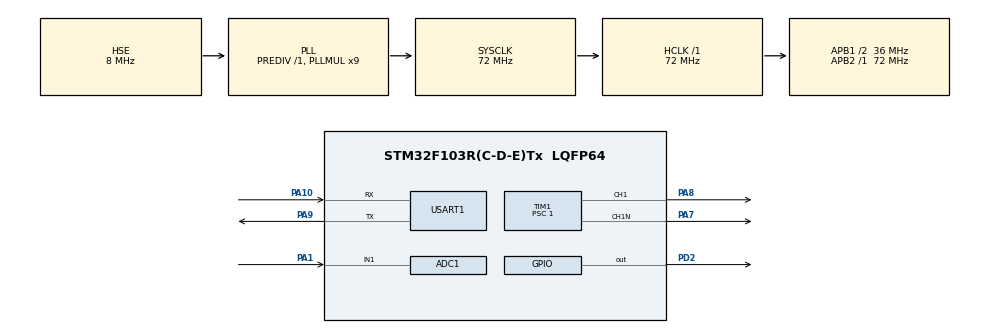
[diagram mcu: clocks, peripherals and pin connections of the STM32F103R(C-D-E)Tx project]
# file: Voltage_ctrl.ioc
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ADC1.Channel-0\#ChannelRegularConversion=ADC_CHANNEL_1
ADC1.ContinuousConvMode=ENABLE
ADC1.DiscontinuousConvMode=DISABLE
ADC1.EnableInjectedConversion=DISABLE
ADC1.EnableRegularConversion=ENABLE
ADC1.InjNumberOfConversion=2
ADC1.NbrOfConversionFlag=1
ADC1.Rank-0\#ChannelRegularConversion=1
ADC1.SamplingTime-0\#ChannelRegularConversion=ADC_SAMPLETIME_1CYCLE_5
ADC1.master=1
Dma.ADC1.0.Direction=DMA_PERIPH_TO_MEMORY
Dma.ADC1.0.Instance=DMA1_Channel1
Dma.ADC1.0.MemDataAlignment=DMA_MDATAALIGN_HALFWORD
Dma.ADC1.0.MemInc=DMA_MINC_ENABLE
Dma.ADC1.0.Mode=DMA_NORMAL
Dma.ADC1.0.PeriphDataAlignment=DMA_PDATAALIGN_HALFWORD
Dma.ADC1.0.PeriphInc=DMA_PINC_DISABLE
Dma.ADC1.0.Priority=DMA_PRIORITY_LOW
Dma.Request0=ADC1
Mcu.Family=STM32F1
Mcu.Name=STM32F103R(C-D-E)Tx
Mcu.Package=LQFP64
NVIC.PriorityGroup=NVIC_PRIORITYGROUP_4
NVIC.TIM6_IRQn=true\:15\:0\:true\:true\:true\:1\:true\:true\:true
NVIC.USART1_IRQn=true\:4\:0\:true\:true\:true\:2\:true\:true\:true
PA1.Signal=ADCx_IN1
PA10.Mode=Asynchronous
PA10.Signal=USART1_RX
PA13.Mode=Serial_Wire
PA13.Signal=SYS_JTMS-SWDIO
PA14.Mode=Serial_Wire
PA14.Signal=SYS_JTCK-SWCLK
PA7.Mode=PWM Generation1 CH1 CH1N
PA7.Signal=TIM1_CH1N
PA8.Signal=S_TIM1_CH1
PA9.Mode=Asynchronous
PA9.Signal=USART1_TX
PD0-OSC_IN.Mode=HSE-External-Oscillator
PD0-OSC_IN.Signal=RCC_OSC_IN
PD1-OSC_OUT.Mode=HSE-External-Oscillator
PD1-OSC_OUT.Signal=RCC_OSC_OUT
PD2.Signal=GPIO_Output
ProjectManager.HeapSize=0x200
ProjectManager.StackSize=0x400
ProjectManager.TargetToolchain=Makefile
RCC.ADCPresc=RCC_ADCPCLK2_DIV6
RCC.AHBFreq_Value=72000000
RCC.APB1CLKDivider=RCC_HCLK_DIV2
RCC.APB1Freq_Value=36000000
RCC.APB1TimFreq_Value=72000000
RCC.APB2Freq_Value=72000000
RCC.APB2TimFreq_Value=72000000
RCC.HCLKFreq_Value=72000000
RCC.PLLMUL=RCC_PLL_MUL9
RCC.PLLSourceVirtual=RCC_PLLSOURCE_HSE
RCC.SYSCLKFreq_VALUE=72000000
RCC.SYSCLKSource=RCC_SYSCLKSOURCE_PLLCLK
RCC.USBFreq_Value=72000000
SH.ADCx_IN1.0=ADC1_IN1,IN1
SH.S_TIM1_CH1.0=TIM1_CH1,PWM Generation1 CH1 CH1N
TIM1.AutoReloadPreload=TIM_AUTORELOAD_PRELOAD_ENABLE
TIM1.Channel-PWM\ Generation1\ CH1\ CH1N=TIM_CHANNEL_1
TIM1.CounterMode=TIM_COUNTERMODE_UP
TIM1.OC1Preload_PWM=ENABLE
TIM1.OCIdleState_1=TIM_OCIDLESTATE_SET
TIM1.OCNIdleState_1=TIM_OCNIDLESTATE_SET
TIM1.OCNPolarity_1=TIM_OCNPOLARITY_LOW
TIM1.Period=3600
TIM1.Prescaler=1
TIM6.AutoReloadPreload=TIM_AUTORELOAD_PRELOAD_ENABLE
TIM6.Period=2670
TIM6.Prescaler=2670
TIM6.TIM_MasterOutputTrigger=TIM_TRGO_RESET
TIM7.AutoReloadPreload=TIM_AUTORELOAD_PRELOAD_ENABLE
USART1.VirtualMode=VM_ASYNC
VP_TIM1_VS_ClockSourceINT.Mode=Internal
VP_TIM6_VS_ClockSourceINT.Mode=Enable_Timer
VP_TIM7_VS_ClockSourceINT.Mode=Enable_Timer
board=custom

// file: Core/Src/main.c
/* USER CODE BEGIN Header */
/**
  ******************************************************************************
  * @file           : main.c
  * @brief          : Main program body
  ******************************************************************************
  * @attention
  *
  * Copyright (c) 2024 STMicroelectronics.
  * All rights reserved.
  *
  * This software is licensed under terms that can be found in the LICENSE file
  * in the root directory of this software component.
  * If no LICENSE file comes with this software, it is provided AS-IS.
  *
  ******************************************************************************
  */
/* USER CODE END Header */
#include "main.h"

/* USER CODE BEGIN PTD */
Config_Value TARGET = {100,100,0};
uint8_t Exceed_Time_Flag =0;
unsigned char uart_temp;
uint8_t uart_receive_data[7];
/* USER CODE END PTD */

TIM_HandleTypeDef htim6;

UART_HandleTypeDef huart1;

/* USER CODE BEGIN PV */
// #define __GNUC__ 11
// #ifdef __GNUC__
// #define PUTCHAR_PROTOTYPE int __io_putchar(int ch)
// #else
// #define PUTCHAR_PROTOTYPE int fputc(int ch, FILE *f)
// #endif
// PUTCHAR_PROTOTYPE
// {
//     HAL_UART_Transmit(&huart1 , (__uint8_t *)&ch, 1, 0xFFFF);
//     return ch;
// }
// int _write(int file, char *ptr, int len)
// {
//       int DataIdx;
//       for (DataIdx = 0; DataIdx < len;DataIdx++)
//      {
//            //__io_putchar(*ptr++);
//            HAL_UART_Transmit(&huart1 ,ptr++, 1, 0xFFFF);
//      }
//       return len;
// }
/* USER CODE END PV */

void SystemClock_Config(void);
static void MX_GPIO_Init(void);
static void MX_DMA_Init(void);
static void MX_TIM6_Init(void);
static void MX_USART1_UART_Init(void);
static void MX_TIM1_Init(void);
static void MX_TIM7_Init(void);
static void MX_ADC1_Init(void);
static void MX_NVIC_Init(void);

int main(void)
{

  /* MCU Configuration--------------------------------------------------------*/

  /* Reset of all peripherals, Initializes the Flash interface and the Systick. */
  HAL_Init();

  /* Configure the system clock */
  SystemClock_Config();

  /* USER CODE BEGIN SysInit */
 // MX_TIM7_INIT(TIM7);
  /* USER CODE END SysInit */

  /* Initialize all configured peripherals */
  MX_GPIO_Init();
  MX_DMA_Init();
  MX_TIM6_Init();
  MX_USART1_UART_Init();
  MX_TIM1_Init();
  MX_TIM7_Init();
  MX_ADC1_Init();

  /* Initialize interrupts */
  MX_NVIC_Init();
  /* USER CODE BEGIN 2 */
  //__HAL_USART_ENABLE_IT();
  //HAL_UART_Receive_IT(&huart1,uart_temp,5);
  Advance_TIMX_PWM_INIGTION(TIM1);

  int Sys_Led_Cnt_Flag = 0;
  unsigned char temp1=0;
  uint32_t ADC_TEMP;

  PID_Controller temp2;

  // ADC_Operation FUNC1 = ADC1_Operation;
  // Set_Duty FUNC2 = Set_And_Convert_Duty_ALL;

  Get_ADC_INIT_VALUE(&(TARGET.ADC_ZERO_INIT));  /////////get a init value of zero duty PWM

  // Set_And_Convert_Duty_Float(TIM1, 0.04);

  PID_Parameters_Init(&temp2,0.02,0.00002,0.0,ADC1_Operation,Set_And_Convert_Duty_ALL);
  /* USER CODE END 2 */

  /* Infinite loop */
  /* USER CODE BEGIN WHILE */
  while (1)
  {
       // LL_TIM_OC_SetCompareCH1(TIM1, 269);
       Set_And_Convert_Duty_ALL(10);
       //PID_Process(TARGET,&temp2,ADC1_Operation,Set_And_Convert_Duty_ALL);
        //ms_delay(TIM7,10);
       us_delay(TIM7,(int)(TARGET.interval));
       //us_delay(TIM7,100);
    // LL_ADC_REG_StartConversionSWStart (ADC1);
    // while(LL_ADC_IsActiveFlag_EOS (ADC1)==0);

    // ADC_TEMP = LL_ADC_REG_ReadConversionData12(ADC1);
    // LL_ADC_ClearFlag_EOS(ADC1);

       instruction_handle(&huart1,uart_receive_data,&TARGET);
      // us_delay(TIM7,10);
       auto_report_handle(&huart1,&TARGET);

       //ADC_TEMP = ADC_By_Consultant(ADC1);

    /////////// SYS LED RUN ////////////////

    if(Sys_Led_Cnt_Flag <= 100)
    {
      HAL_GPIO_WritePin(GPIOD, GPIO_PIN_2,GPIO_PIN_SET);
      //Sys_Led_Cnt_Flag =0;
    }
    else if ((Sys_Led_Cnt_Flag >100)&&(Sys_Led_Cnt_Flag <=200))
    {
      HAL_GPIO_WritePin(GPIOD, GPIO_PIN_2,GPIO_PIN_RESET);
    }
    else if (Sys_Led_Cnt_Flag > 200)
    {
      Sys_Led_Cnt_Flag =0;
    }
    Sys_Led_Cnt_Flag++;
    ///////////////////////////////////////////////////

    /* USER CODE END WHILE */

  }
}

void SystemClock_Config(void)
{
  RCC_OscInitTypeDef RCC_OscInitStruct = {0};
  RCC_ClkInitTypeDef RCC_ClkInitStruct = {0};
  RCC_PeriphCLKInitTypeDef PeriphClkInit = {0};

  /** Initializes the RCC Oscillators according to the specified parameters
  * in the RCC_OscInitTypeDef structure.
  */
  RCC_OscInitStruct.OscillatorType = RCC_OSCILLATORTYPE_HSE;
  RCC_OscInitStruct.HSEState = RCC_HSE_ON;
  RCC_OscInitStruct.HSEPredivValue = RCC_HSE_PREDIV_DIV1;
  RCC_OscInitStruct.HSIState = RCC_HSI_ON;
  RCC_OscInitStruct.PLL.PLLState = RCC_PLL_ON;
  RCC_OscInitStruct.PLL.PLLSource = RCC_PLLSOURCE_HSE;
  RCC_OscInitStruct.PLL.PLLMUL = RCC_PLL_MUL9;
  if (HAL_RCC_OscConfig(&RCC_OscInitStruct) != HAL_OK)
  {
    Error_Handler();
  }

  /** Initializes the CPU, AHB and APB buses clocks
  */
  RCC_ClkInitStruct.ClockType = RCC_CLOCKTYPE_HCLK|RCC_CLOCKTYPE_SYSCLK
                              |RCC_CLOCKTYPE_PCLK1|RCC_CLOCKTYPE_PCLK2;
  RCC_ClkInitStruct.SYSCLKSource = RCC_SYSCLKSOURCE_PLLCLK;
  RCC_ClkInitStruct.AHBCLKDivider = RCC_SYSCLK_DIV1;
  RCC_ClkInitStruct.APB1CLKDivider = RCC_HCLK_DIV2;
  RCC_ClkInitStruct.APB2CLKDivider = RCC_HCLK_DIV1;

  if (HAL_RCC_ClockConfig(&RCC_ClkInitStruct, FLASH_LATENCY_2) != HAL_OK)
  {
    Error_Handler();
  }
  PeriphClkInit.PeriphClockSelection = RCC_PERIPHCLK_ADC;
  PeriphClkInit.AdcClockSelection = RCC_ADCPCLK2_DIV6;
  if (HAL_RCCEx_PeriphCLKConfig(&PeriphClkInit) != HAL_OK)
  {
    Error_Handler();
  }
}

/**
  * @brief NVIC Configuration.
  * @retval None
  */
static void MX_NVIC_Init(void)
{
  /* TIM6_IRQn interrupt configuration */
  HAL_NVIC_SetPriority(TIM6_IRQn, 15, 0);
  HAL_NVIC_EnableIRQ(TIM6_IRQn);
  /* USART1_IRQn interrupt configuration */
  HAL_NVIC_SetPriority(USART1_IRQn, 4, 0);
  HAL_NVIC_EnableIRQ(USART1_IRQn);
}

static void MX_ADC1_Init(void)
{

  /* USER CODE BEGIN ADC1_Init 0 */

  /*ADC Calibration*/
  LL_ADC_Disable(ADC1);
  LL_ADC_StartCalibration (ADC1);
  while (LL_ADC_IsCalibrationOnGoing(ADC1));

  /* USER CODE END ADC1_Init 0 */

  LL_ADC_InitTypeDef ADC_InitStruct = {0};
  LL_ADC_CommonInitTypeDef ADC_CommonInitStruct = {0};
  LL_ADC_REG_InitTypeDef ADC_REG_InitStruct = {0};

  LL_GPIO_InitTypeDef GPIO_InitStruct = {0};

  /* Peripheral clock enable */
  LL_APB2_GRP1_EnableClock(LL_APB2_GRP1_PERIPH_ADC1);

  LL_APB2_GRP1_EnableClock(LL_APB2_GRP1_PERIPH_GPIOA);
  /**ADC1 GPIO Configuration
  PA1   ------> ADC1_IN1
  */
  GPIO_InitStruct.Pin = LL_GPIO_PIN_1;
  GPIO_InitStruct.Mode = LL_GPIO_MODE_ANALOG;
  LL_GPIO_Init(GPIOA, &GPIO_InitStruct);

  /* ADC1 DMA Init */

  /* ADC1 Init */
  LL_DMA_SetDataTransferDirection(DMA1, LL_DMA_CHANNEL_1, LL_DMA_DIRECTION_PERIPH_TO_MEMORY);

  LL_DMA_SetChannelPriorityLevel(DMA1, LL_DMA_CHANNEL_1, LL_DMA_PRIORITY_LOW);

  LL_DMA_SetMode(DMA1, LL_DMA_CHANNEL_1, LL_DMA_MODE_NORMAL);

  LL_DMA_SetPeriphIncMode(DMA1, LL_DMA_CHANNEL_1, LL_DMA_PERIPH_NOINCREMENT);

  LL_DMA_SetMemoryIncMode(DMA1, LL_DMA_CHANNEL_1, LL_DMA_MEMORY_INCREMENT);

  LL_DMA_SetPeriphSize(DMA1, LL_DMA_CHANNEL_1, LL_DMA_PDATAALIGN_HALFWORD);

  LL_DMA_SetMemorySize(DMA1, LL_DMA_CHANNEL_1, LL_DMA_MDATAALIGN_HALFWORD);

  /** Common config
  */
  ADC_InitStruct.DataAlignment = LL_ADC_DATA_ALIGN_RIGHT;
  ADC_InitStruct.SequencersScanMode = LL_ADC_SEQ_SCAN_ENABLE;
  LL_ADC_Init(ADC1, &ADC_InitStruct);
  ADC_CommonInitStruct.Multimode = LL_ADC_MULTI_INDEPENDENT;
  LL_ADC_CommonInit(__LL_ADC_COMMON_INSTANCE(ADC1), &ADC_CommonInitStruct);
  ADC_REG_InitStruct.TriggerSource = LL_ADC_REG_TRIG_SOFTWARE;
  ADC_REG_InitStruct.SequencerLength = LL_ADC_REG_SEQ_SCAN_DISABLE;
  ADC_REG_InitStruct.SequencerDiscont = LL_ADC_REG_SEQ_DISCONT_DISABLE;
  ADC_REG_InitStruct.ContinuousMode = LL_ADC_REG_CONV_CONTINUOUS;
  ADC_REG_InitStruct.DMATransfer = LL_ADC_REG_DMA_TRANSFER_UNLIMITED;
  LL_ADC_REG_Init(ADC1, &ADC_REG_InitStruct);

  /** Configure Regular Channel
  */
  LL_ADC_REG_SetSequencerRanks(ADC1, LL_ADC_REG_RANK_1, LL_ADC_CHANNEL_1);
  LL_ADC_SetChannelSamplingTime(ADC1, LL_ADC_CHANNEL_1, LL_ADC_SAMPLINGTIME_1CYCLE_5);
  /* USER CODE BEGIN ADC1_Init 2 */

  //LL_ADC_SetChannelSamplingTime (ADC1, LL_ADC_CHANNEL_1,LL_ADC_SAMPLINGTIME_239CYCLES_5);
  LL_ADC_Enable (ADC1);

  /* USER CODE END ADC1_Init 2 */

}

static void MX_TIM1_Init(void)
{

  LL_TIM_InitTypeDef TIM_InitStruct = {0};
  LL_TIM_OC_InitTypeDef TIM_OC_InitStruct = {0};
  LL_TIM_BDTR_InitTypeDef TIM_BDTRInitStruct = {0};

  LL_GPIO_InitTypeDef GPIO_InitStruct = {0};

  /* Peripheral clock enable */
  LL_APB2_GRP1_EnableClock(LL_APB2_GRP1_PERIPH_TIM1);

  TIM_InitStruct.Prescaler = 1;
  TIM_InitStruct.CounterMode = LL_TIM_COUNTERMODE_UP;
  TIM_InitStruct.Autoreload = 3600;
  TIM_InitStruct.ClockDivision = LL_TIM_CLOCKDIVISION_DIV1;
  TIM_InitStruct.RepetitionCounter = 0;
  LL_TIM_Init(TIM1, &TIM_InitStruct);
  LL_TIM_EnableARRPreload(TIM1);
  LL_TIM_SetClockSource(TIM1, LL_TIM_CLOCKSOURCE_INTERNAL);
  LL_TIM_OC_EnablePreload(TIM1, LL_TIM_CHANNEL_CH1);
  TIM_OC_InitStruct.OCMode = LL_TIM_OCMODE_PWM1;
  TIM_OC_InitStruct.OCState = LL_TIM_OCSTATE_DISABLE;
  TIM_OC_InitStruct.OCNState = LL_TIM_OCSTATE_DISABLE;
  TIM_OC_InitStruct.CompareValue = 0;
  TIM_OC_InitStruct.OCPolarity = LL_TIM_OCPOLARITY_HIGH;
  TIM_OC_InitStruct.OCNPolarity = LL_TIM_OCPOLARITY_HIGH;
  TIM_OC_InitStruct.OCIdleState = LL_TIM_OCIDLESTATE_HIGH;
  TIM_OC_InitStruct.OCNIdleState = LL_TIM_OCIDLESTATE_HIGH;
  LL_TIM_OC_Init(TIM1, LL_TIM_CHANNEL_CH1, &TIM_OC_InitStruct);
  LL_TIM_OC_DisableFast(TIM1, LL_TIM_CHANNEL_CH1);
  LL_TIM_SetTriggerOutput(TIM1, LL_TIM_TRGO_RESET);
  LL_TIM_DisableMasterSlaveMode(TIM1);
  TIM_BDTRInitStruct.OSSRState = LL_TIM_OSSR_DISABLE;
  TIM_BDTRInitStruct.OSSIState = LL_TIM_OSSI_DISABLE;
  TIM_BDTRInitStruct.LockLevel = LL_TIM_LOCKLEVEL_OFF;
  TIM_BDTRInitStruct.DeadTime = 0;
  TIM_BDTRInitStruct.BreakState = LL_TIM_BREAK_DISABLE;
  TIM_BDTRInitStruct.BreakPolarity = LL_TIM_BREAK_POLARITY_HIGH;
  TIM_BDTRInitStruct.AutomaticOutput = LL_TIM_AUTOMATICOUTPUT_DISABLE;
  LL_TIM_BDTR_Init(TIM1, &TIM_BDTRInitStruct);
  /* USER CODE BEGIN TIM1_Init 2 */
  LL_APB2_GRP1_EnableClock(LL_APB2_GRP1_PERIPH_AFIO);
  /* USER CODE END TIM1_Init 2 */
  //LL_APB2_GRP1_EnableClock(LL_APB2_GRP1_PERIPH_GPIOA);

  /**TIM1 GPIO Configuration
  PA7   ------> TIM1_CH1N
  PA8   ------> TIM1_CH1
  */
  GPIO_InitStruct.Pin = LL_GPIO_PIN_7|LL_GPIO_PIN_8;
  GPIO_InitStruct.Mode = LL_GPIO_MODE_ALTERNATE;
  GPIO_InitStruct.Speed = LL_GPIO_SPEED_FREQ_LOW;
  GPIO_InitStruct.OutputType = LL_GPIO_OUTPUT_PUSHPULL;
  LL_GPIO_Init(GPIOA, &GPIO_InitStruct);

  LL_GPIO_AF_RemapPartial_TIM1();

}

static void MX_TIM6_Init(void)
{

  /* USER CODE BEGIN TIM6_Init 0 */
  // __HAL_RCC_TIM6_CLK_ENABLE();
  /* USER CODE END TIM6_Init 0 */

  TIM_MasterConfigTypeDef sMasterConfig = {0};

  htim6.Instance = TIM6;
  htim6.Init.Prescaler = 2670;
  htim6.Init.CounterMode = TIM_COUNTERMODE_UP;
  htim6.Init.Period = 2670;
  htim6.Init.AutoReloadPreload = TIM_AUTORELOAD_PRELOAD_ENABLE;
  if (HAL_TIM_Base_Init(&htim6) != HAL_OK)
  {
    Error_Handler();
  }
  sMasterConfig.MasterOutputTrigger = TIM_TRGO_RESET;
  sMasterConfig.MasterSlaveMode = TIM_MASTERSLAVEMODE_DISABLE;
  if (HAL_TIMEx_MasterConfigSynchronization(&htim6, &sMasterConfig) != HAL_OK)
  {
    Error_Handler();
  }
  /* USER CODE BEGIN TIM6_Init 2 */
  HAL_TIM_Base_Start_IT(&htim6);
 // HAL_NVIC_EnableIRQ(TIM6_IRQn);
  // htim6.Instance->CNT=0;       ////////clear the cnt
  // htim6.Instance->SR=0;        ////////clear the irq flag
  // HAL_TIM_Base_Stop_IT(&htim6);
  /* USER CODE END TIM6_Init 2 */

}

static void MX_TIM7_Init(void)
{

  LL_TIM_InitTypeDef TIM_InitStruct = {0};

  /* Peripheral clock enable */
  LL_APB1_GRP1_EnableClock(LL_APB1_GRP1_PERIPH_TIM7);

  TIM_InitStruct.Prescaler = 0;
  TIM_InitStruct.CounterMode = LL_TIM_COUNTERMODE_UP;
  TIM_InitStruct.Autoreload = 65535;
  LL_TIM_Init(TIM7, &TIM_InitStruct);
  LL_TIM_EnableARRPreload(TIM7);
  LL_TIM_SetTriggerOutput(TIM7, LL_TIM_TRGO_RESET);
  LL_TIM_DisableMasterSlaveMode(TIM7);
  /* USER CODE BEGIN TIM7_Init 2 */

  //LL_TIM_EnableAllOutputs (TIM1);
  LL_TIM_EnableCounter (TIM7);

  /* USER CODE END TIM7_Init 2 */

}

static void MX_USART1_UART_Init(void)
{

  /* USER CODE BEGIN USART1_Init 0 */
 // #define USE_HAL_UART_REGISTER_CALLBACKS 1
  /* USER CODE END USART1_Init 0 */

  huart1.Instance = USART1;
  huart1.Init.BaudRate = 115200;
  huart1.Init.WordLength = UART_WORDLENGTH_8B;
  huart1.Init.StopBits = UART_STOPBITS_1;
  huart1.Init.Parity = UART_PARITY_NONE;
  huart1.Init.Mode = UART_MODE_TX_RX;
  huart1.Init.HwFlowCtl = UART_HWCONTROL_NONE;
  huart1.Init.OverSampling = UART_OVERSAMPLING_16;
  if (HAL_UART_Init(&huart1) != HAL_OK)
  {
    Error_Handler();
  }
  /* USER CODE BEGIN USART1_Init 2 */

  HAL_UART_Receive_IT(&huart1,&uart_temp,1);

  /* USER CODE END USART1_Init 2 */

}

static void MX_DMA_Init(void)
{

  /* Init with LL driver */
  /* DMA controller clock enable */
  LL_AHB1_GRP1_EnableClock(LL_AHB1_GRP1_PERIPH_DMA1);

}

static void MX_GPIO_Init(void)
{
  GPIO_InitTypeDef GPIO_InitStruct = {0};

  /* GPIO Ports Clock Enable */
  __HAL_RCC_GPIOD_CLK_ENABLE();
  __HAL_RCC_GPIOA_CLK_ENABLE();

  /*Configure GPIO pin Output Level */
  HAL_GPIO_WritePin(GPIOD, GPIO_PIN_2, GPIO_PIN_RESET);

  /*Configure GPIO pin : PD2 */
  GPIO_InitStruct.Pin = GPIO_PIN_2;
  GPIO_InitStruct.Mode = GPIO_MODE_OUTPUT_PP;
  GPIO_InitStruct.Pull = GPIO_NOPULL;
  GPIO_InitStruct.Speed = GPIO_SPEED_FREQ_LOW;
  HAL_GPIO_Init(GPIOD, &GPIO_InitStruct);

/* USER CODE BEGIN MX_GPIO_Init_2 */

  //HAL_GPIO_WritePin(GPIOD, GPIO_PIN_2, GPIO_PIN_SET);

/* USER CODE END MX_GPIO_Init_2 */
}

/* USER CODE BEGIN 4 */
HAL_TIM_PeriodElapsedCallback(htim)
{
    //HAL_GPIO_TogglePin(GPIOD, GPIO_PIN_2);
    UNUSED(htim);
    static unsigned char temp,cnt=0;
    static unsigned char a,cnt1=0;
    // if(cnt++ ==1)
    Exceed_Time_Flag =1;
        // Set_And_Convert_Duty(TIM1,cnt1++);
        // if(cnt1 == 100)
        // {
        //   cnt1 = 0;
        // }

  //   if(Sys_Led_Cnt_Flag >1000)
  //   {
  //     HAL_GPIO_WritePin(GPIOD, GPIO_PIN_2, GPIO_PIN_RESET);
  //     Sys_Led_Cnt_Flag =0;
  //  // HAL_UART_Transmit(&huart1,"usart_temp1",7,1000);
  //     //s_printf(a,'a');
  //     //printf("sdfsf");
  //   }
  //   else
  //   {
  //     HAL_GPIO_WritePin(GPIOD, GPIO_PIN_2, GPIO_PIN_SET);
  //   }
    // if(cnt <= 10)
    // {

    //       cnt++;
    // }
    // else
    // {
    //  cnt=1;
    //  temp ^= 0xFF;
    // }

}

HAL_UART_RxCpltCallback(UART_HandleTypeDef *huart)
{
    //   if(uart_temp == 'f')
    // {
    //   HAL_GPIO_WritePin(GPIOD, GPIO_PIN_2, GPIO_PIN_SET);
    // }
    // else
    // {
    //   HAL_GPIO_WritePin(GPIOD, GPIO_PIN_2, GPIO_PIN_RESET);
    // }
      Data_Inspect_By_StateMachine(&htim6,&uart_temp,uart_receive_data,&Exceed_Time_Flag);

      HAL_UART_Receive_IT(&huart1,&uart_temp,1);

}

/* USER CODE END 4 */

void Error_Handler(void)
{
  __disable_irq();
  while (1)
  {
  }
}
